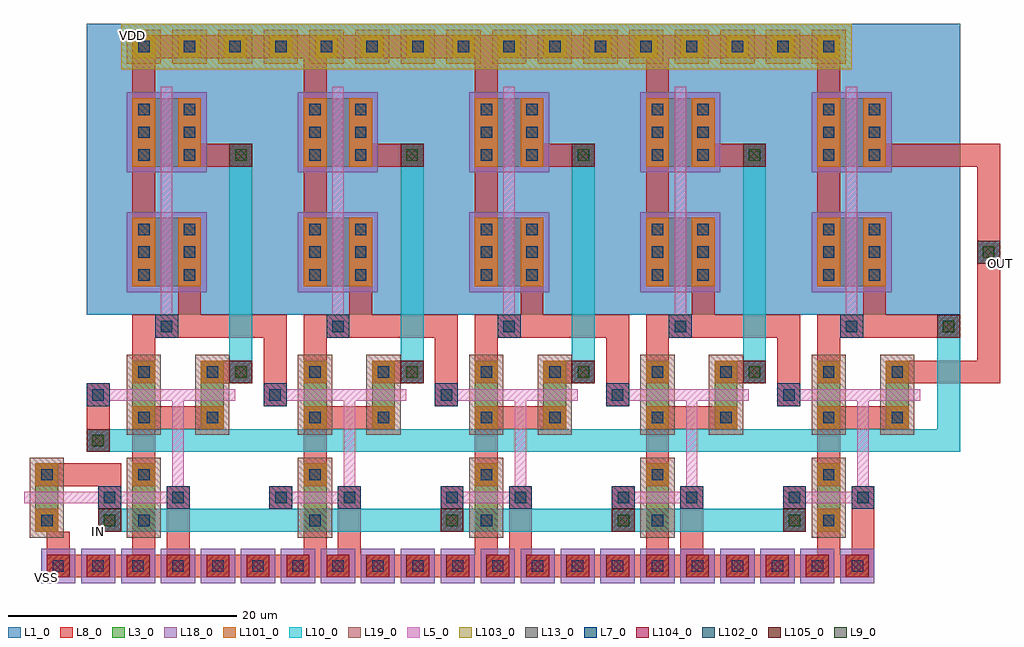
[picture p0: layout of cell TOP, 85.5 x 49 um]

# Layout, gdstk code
from math import pi, radians
import gdstk
lib = gdstk.Library(unit=1e-6, precision=1e-09)
def R(c, l, rs):  # rectangles x0, y0, x1, y1
    for r in rs: c.add(gdstk.rectangle(r[:2], r[2:], *l))
def A(c, l, x, y, w, h, nx, ny, dx, dy):  # array of equal rectangles
    R(c, l, [(x+i*dx, y+j*dy, x+i*dx+w, y+j*dy+h) for i in range(nx) for j in range(ny)])
L1_0 = (1, 0)
L3_0 = (3, 0)
L5_0 = (5, 0)
L7_0 = (7, 0)
L8_0 = (8, 0)
L9_0 = (9, 0)
L10_0 = (10, 0)
L13_0 = (13, 0)
L18_0 = (18, 0)
L19_0 = (19, 0)
L101_0 = (101, 0)
L102_0 = (102, 0)
L103_0 = (103, 0)
L104_0 = (104, 0)
L105_0 = (105, 0)

pcont = lib.new_cell('pcont')
R(pcont, L5_0, [(-1,-1,1,1)])
R(pcont, L7_0, [(-0.5,-0.5,0.5,0.5)])
R(pcont, L8_0, [(-1,-1,1,1)])
R(pcont, L13_0, [(-0.5,-0.5,0.5,0.5)])
R(pcont, L102_0, [(-1,-1,1,1)])
pcont.add(gdstk.Label('pcont', (0,0), layer=13, texttype=0))

dcont = lib.new_cell('dcont')
R(dcont, L3_0, [(-1,-1,1,1)])
R(dcont, L7_0, [(-0.5,-0.5,0.5,0.5)])
R(dcont, L8_0, [(-1,-1,1,1)])
R(dcont, L13_0, [(-0.5,-0.5,0.5,0.5)])
R(dcont, L101_0, [(-1,-1,1,1)])
dcont.add(gdstk.Label('dcont', (0,0), layer=13, texttype=0))

nsubcont = lib.new_cell('nsubcont')
R(nsubcont, L1_0, [(-2,-2,2,2)])
R(nsubcont, L19_0, [(-1.5,-1.5,1.5,1.5)])
R(nsubcont, L103_0, [(-2,-2,2,2)])
nsubcont.add(gdstk.Reference(dcont, (0,0)))
nsubcont.add(gdstk.Label('NScont', (0,0), layer=13, texttype=0))

via = lib.new_cell('Via')
R(via, L8_0, [(-1,-1,1,1)])
R(via, L9_0, [(-0.5,-0.5,0.5,0.5)])
R(via, L10_0, [(-1,-1,1,1)])
R(via, L13_0, [(-0.5,-0.5,0.5,0.5)])
R(via, L105_0, [(-1,-1,1,1)])
via.add(gdstk.Label('via', (0,0), layer=13, texttype=0))

psubcont = lib.new_cell('psubcont')
R(psubcont, L18_0, [(-1.5,-1.5,1.5,1.5)])
R(psubcont, L104_0, [(-1,-1,1,1)])
psubcont.add(gdstk.Reference(dcont, (0,0)))
psubcont.add(gdstk.Label('PScon', (0,0), layer=13, texttype=0))

top = lib.new_cell('TOP')
R(top, L1_0, [(-10,15,66.5,40.5)])
A(top, L3_0, -6, -2, 2, 2, 5, 1, 15, 0)
A(top, L3_0, -4, 17.5, 2, 6, 5, 2, 15, 10.5)
R(top, L3_0, [(-14.5,-2,-12.5,0), (-6,7,-4,9), (0,7,2,9), (9,7,11,9), (15,7,17,9), (24,7,26,9), (30,7,32,9), (39,7,41,9), (45,7,47,9), (54,7,56,9), (60,7,62,9)])
A(top, L5_0, -7, -1.5, 4, 1, 5, 1, 15, 0)
A(top, L5_0, -2.5, -0.5, 1, 8, 5, 1, 15, 0)
A(top, L5_0, -3, 7.5, 2, 1, 5, 1, 15, 0)
A(top, L5_0, 7.5, 7.5, 0.5, 1, 4, 1, 15, 0)
A(top, L5_0, -3.5, 15, 1, 1.5, 5, 1, 15, 0)
A(top, L5_0, -3.5, 16.5, 1, 8, 5, 2, 15, 10.5)
A(top, L5_0, -3.5, 24.5, 1, 2.5, 5, 1, 15, 0)
R(top, L5_0, [(-15.5,-1.5,-9,-0.5), (-8,7.5,-7,8.5), (-7,7.5,-3,8.5), (-1,7.5,3,8.5), (8,7.5,12,8.5), (14,7.5,18,8.5), (23,7.5,27,8.5), (29,7.5,33,8.5), (38,7.5,42,8.5), (44,7.5,48,8.5), (53,7.5,57,8.5), (59,7.5,63,8.5)])
A(top, L8_0, -6, -6, 2, 2, 5, 1, 15, 0)
A(top, L8_0, -3, -6, 2, 4, 5, 1, 15, 0)
A(top, L8_0, -6, 2, 2, 3, 5, 1, 15, 0)
A(top, L8_0, -4, 5, 4, 2, 5, 1, 15, 0)
A(top, L8_0, 2, 9, 0.5, 2, 5, 1, 15, 0)
A(top, L8_0, 5.5, 9, 2, 6, 4, 1, 15, 0)
A(top, L8_0, -6, 11, 2, 4, 5, 1, 15, 0)
A(top, L8_0, -4, 13, 10.5, 2, 5, 1, 15, 0)
A(top, L8_0, -2, 15, 2, 2.5, 5, 1, 15, 0)
A(top, L8_0, -6, 23.5, 2, 4.5, 5, 1, 15, 0)
A(top, L8_0, 0, 28, 2.5, 2, 5, 1, 15, 0)
A(top, L8_0, -6, 34, 2, 3.5, 5, 1, 15, 0)
R(top, L8_0, [(-11.5,-8,-6.5,-6), (-4.5,-8,-3,-6), (-1,-8,59,-6), (-13.5,-6,-11.5,-4), (-12.5,0,-7,2), (-10,5,-8,7), (62.5,9,68,11), (68,9,70,28), (62.5,28,70,30), (-4,37.5,56,39.5)])
A(top, L10_0, 2.5, 9, 2, 19, 4, 1, 15, 0)
R(top, L10_0, [(-7,-4,51,-2), (-10,3,66.5,5), (64.5,5,66.5,13)])
A(top, L18_0, -6.5, 17, 7, 7, 5, 2, 15, 10.5)
A(top, L19_0, -6.5, -4.5, 3, 7, 5, 1, 15, 0)
R(top, L19_0, [(-15,-4.5,-12,2.5), (-6.5,4.5,-3.5,11.5), (-0.5,4.5,2.5,11.5), (8.5,4.5,11.5,11.5), (14.5,4.5,17.5,11.5), (23.5,4.5,26.5,11.5), (29.5,4.5,32.5,11.5), (38.5,4.5,41.5,11.5), (44.5,4.5,47.5,11.5), (53.5,4.5,56.5,11.5), (59.5,4.5,62.5,11.5)])
top.add(gdstk.Reference(pcont, (28,-1), rotation=pi))
top.add(gdstk.Reference(pcont, (27,14), rotation=pi))
top.add(gdstk.Reference(nsubcont, (27,38.5), rotation=pi))
top.add(gdstk.Reference(dcont, (29,18.5), rotation=pi))
top.add(gdstk.Reference(dcont, (29,31)))
top.add(gdstk.Reference(dcont, (29,29)))
top.add(gdstk.Reference(dcont, (29,33)))
top.add(gdstk.Reference(dcont, (29,20.5), rotation=pi))
top.add(gdstk.Reference(via, (33.5,29), rotation=pi))
top.add(gdstk.Reference(dcont, (44,33)))
top.add(gdstk.Reference(dcont, (44,22.5), rotation=pi))
top.add(gdstk.Reference(dcont, (40,20.5), rotation=pi))
top.add(gdstk.Reference(dcont, (44,18.5), rotation=pi))
top.add(gdstk.Reference(dcont, (40,18.5), rotation=pi))
top.add(gdstk.Reference(dcont, (40,22.5), rotation=pi))
top.add(gdstk.Reference(dcont, (40,29)))
top.add(gdstk.Reference(dcont, (44,31)))
top.add(gdstk.Reference(dcont, (40,33)))
top.add(gdstk.Reference(dcont, (40,31)))
top.add(gdstk.Reference(dcont, (44,29)))
top.add(gdstk.Reference(dcont, (44,20.5), rotation=pi))
top.add(gdstk.Reference(via, (48.5,29), rotation=pi))
top.add(gdstk.Reference(dcont, (59,33)))
top.add(gdstk.Reference(dcont, (59,22.5), rotation=pi))
top.add(gdstk.Reference(dcont, (55,20.5), rotation=pi))
top.add(gdstk.Reference(dcont, (59,18.5), rotation=pi))
top.add(gdstk.Reference(dcont, (55,18.5), rotation=pi))
top.add(gdstk.Reference(dcont, (55,22.5), rotation=pi))
top.add(gdstk.Reference(dcont, (55,29)))
top.add(gdstk.Reference(dcont, (59,31)))
top.add(gdstk.Reference(dcont, (55,33)))
top.add(gdstk.Reference(dcont, (55,31)))
top.add(gdstk.Reference(dcont, (59,29)))
top.add(gdstk.Reference(dcont, (59,20.5), rotation=pi))
top.add(gdstk.Reference(dcont, (29,22.5), rotation=pi))
top.add(gdstk.Reference(nsubcont, (31,38.5), rotation=pi))
top.add(gdstk.Reference(nsubcont, (35,38.5), rotation=pi))
top.add(gdstk.Reference(nsubcont, (39,38.5), rotation=pi))
top.add(gdstk.Reference(nsubcont, (43,38.5), rotation=pi))
top.add(gdstk.Reference(nsubcont, (47,38.5), rotation=pi))
top.add(gdstk.Reference(nsubcont, (51,38.5), rotation=pi))
top.add(gdstk.Reference(via, (69,20.5), rotation=pi))
top.add(gdstk.Reference(nsubcont, (55,38.5), rotation=pi))
top.add(gdstk.Reference(dcont, (-5,20.5), rotation=pi))
top.add(gdstk.Reference(dcont, (-1,22.5), rotation=pi))
top.add(gdstk.Reference(dcont, (-1,33)))
top.add(gdstk.Reference(via, (18.5,29), rotation=pi))
top.add(gdstk.Reference(dcont, (14,20.5), rotation=pi))
top.add(gdstk.Reference(dcont, (14,29)))
top.add(gdstk.Reference(dcont, (10,31)))
top.add(gdstk.Reference(dcont, (10,33)))
top.add(gdstk.Reference(dcont, (14,31)))
top.add(gdstk.Reference(dcont, (10,29)))
top.add(gdstk.Reference(dcont, (10,22.5), rotation=pi))
top.add(gdstk.Reference(dcont, (10,18.5), rotation=pi))
top.add(gdstk.Reference(dcont, (14,18.5), rotation=pi))
top.add(gdstk.Reference(dcont, (10,20.5), rotation=pi))
top.add(gdstk.Reference(dcont, (14,22.5), rotation=pi))
top.add(gdstk.Reference(dcont, (14,33)))
top.add(gdstk.Reference(nsubcont, (-5,38.5), rotation=pi))
top.add(gdstk.Reference(via, (3.5,29), rotation=pi))
top.add(gdstk.Reference(dcont, (-1,20.5), rotation=pi))
top.add(gdstk.Reference(dcont, (25,20.5), rotation=pi))
top.add(gdstk.Reference(dcont, (-1,29)))
top.add(gdstk.Reference(dcont, (25,18.5), rotation=pi))
top.add(gdstk.Reference(dcont, (25,22.5), rotation=pi))
top.add(gdstk.Reference(nsubcont, (-1,38.5), rotation=pi))
top.add(gdstk.Reference(nsubcont, (3,38.5), rotation=pi))
top.add(gdstk.Reference(nsubcont, (7,38.5), rotation=pi))
top.add(gdstk.Reference(nsubcont, (11,38.5), rotation=pi))
top.add(gdstk.Reference(nsubcont, (15,38.5), rotation=pi))
top.add(gdstk.Reference(nsubcont, (19,38.5), rotation=pi))
top.add(gdstk.Reference(nsubcont, (23,38.5), rotation=pi))
top.add(gdstk.Reference(dcont, (25,29)))
top.add(gdstk.Reference(dcont, (-5,31)))
top.add(gdstk.Reference(dcont, (25,33)))
top.add(gdstk.Reference(dcont, (25,31)))
top.add(gdstk.Reference(dcont, (-5,33)))
top.add(gdstk.Reference(dcont, (-1,31)))
top.add(gdstk.Reference(dcont, (-5,29)))
top.add(gdstk.Reference(dcont, (-5,22.5), rotation=pi))
top.add(gdstk.Reference(dcont, (-5,18.5), rotation=pi))
top.add(gdstk.Reference(dcont, (-1,18.5), rotation=pi))
top.add(gdstk.Reference(dcont, (-5,1), rotation=pi))
top.add(gdstk.Reference(via, (3.5,10), rotation=pi))
top.add(gdstk.Reference(via, (18.5,10), rotation=pi))
top.add(gdstk.Reference(pcont, (-3,14), rotation=pi))
top.add(gdstk.Reference(dcont, (16,6), rotation=pi))
top.add(gdstk.Reference(dcont, (16,10), rotation=pi))
top.add(gdstk.Reference(dcont, (10,6), rotation=pi))
top.add(gdstk.Reference(dcont, (10,10), rotation=pi))
top.add(gdstk.Reference(pcont, (13,-1), rotation=pi))
top.add(gdstk.Reference(pcont, (-9,8), rotation=pi))
top.add(gdstk.Reference(via, (-9,4), rotation=pi))
top.add(gdstk.Reference(dcont, (10,-3), rotation=pi))
top.add(gdstk.Reference(dcont, (10,1), rotation=pi))
top.add(gdstk.Reference(psubcont, (-2,-7), rotation=pi))
top.add(gdstk.Reference(pcont, (6.5,8), rotation=pi))
top.add(gdstk.Reference(pcont, (21.5,8), rotation=pi))
top.add(gdstk.Reference(pcont, (12,14), rotation=pi))
top.add(gdstk.Reference(dcont, (25,1), rotation=pi))
top.add(gdstk.Reference(dcont, (25,-3), rotation=pi))
top.add(gdstk.Reference(dcont, (1,6), rotation=pi))
top.add(gdstk.Reference(dcont, (25,10), rotation=pi))
top.add(gdstk.Reference(dcont, (25,6), rotation=pi))
top.add(gdstk.Reference(dcont, (1,10), rotation=pi))
top.add(gdstk.Reference(dcont, (-5,6), rotation=pi))
top.add(gdstk.Reference(dcont, (-5,10), rotation=pi))
top.add(gdstk.Reference(psubcont, (1.5,-7), rotation=pi))
top.add(gdstk.Reference(psubcont, (5,-7), rotation=pi))
top.add(gdstk.Reference(psubcont, (8.5,-7), rotation=pi))
top.add(gdstk.Reference(psubcont, (12,-7), rotation=pi))
top.add(gdstk.Reference(psubcont, (15.5,-7), rotation=pi))
top.add(gdstk.Reference(psubcont, (19,-7), rotation=pi))
top.add(gdstk.Reference(psubcont, (22.5,-7), rotation=pi))
top.add(gdstk.Reference(psubcont, (26,-7), rotation=pi))
top.add(gdstk.Reference(psubcont, (-5.5,-7), rotation=pi))
top.add(gdstk.Reference(pcont, (22,-1), rotation=pi))
top.add(gdstk.Reference(pcont, (7,-1), rotation=pi))
top.add(gdstk.Reference(pcont, (-8,-1), rotation=pi))
top.add(gdstk.Reference(via, (22,-3), rotation=pi))
top.add(gdstk.Reference(via, (-8,-3), rotation=pi))
top.add(gdstk.Reference(dcont, (-13.5,1), rotation=pi))
top.add(gdstk.Reference(dcont, (-13.5,-3), rotation=pi))
top.add(gdstk.Reference(psubcont, (-9,-7), rotation=pi))
top.add(gdstk.Reference(psubcont, (-12.5,-7), rotation=pi))
top.add(gdstk.Reference(pcont, (-2,-1), rotation=pi))
top.add(gdstk.Reference(dcont, (-5,-3), rotation=pi))
top.add(gdstk.Reference(pcont, (43,-1), rotation=pi))
top.add(gdstk.Reference(dcont, (40,10), rotation=pi))
top.add(gdstk.Reference(dcont, (40,6), rotation=pi))
top.add(gdstk.Reference(dcont, (46,10), rotation=pi))
top.add(gdstk.Reference(pcont, (42,14), rotation=pi))
top.add(gdstk.Reference(dcont, (46,6), rotation=pi))
top.add(gdstk.Reference(pcont, (57,14), rotation=pi))
top.add(gdstk.Reference(dcont, (31,10), rotation=pi))
top.add(gdstk.Reference(via, (65.5,14), rotation=pi))
top.add(gdstk.Reference(via, (48.5,10), rotation=pi))
top.add(gdstk.Reference(pcont, (51.5,8), rotation=pi))
top.add(gdstk.Reference(psubcont, (29.5,-7), rotation=pi))
top.add(gdstk.Reference(psubcont, (33,-7), rotation=pi))
top.add(gdstk.Reference(psubcont, (36.5,-7), rotation=pi))
top.add(gdstk.Reference(psubcont, (40,-7), rotation=pi))
top.add(gdstk.Reference(psubcont, (43.5,-7), rotation=pi))
top.add(gdstk.Reference(psubcont, (47,-7), rotation=pi))
top.add(gdstk.Reference(psubcont, (50.5,-7), rotation=pi))
top.add(gdstk.Reference(psubcont, (54,-7), rotation=pi))
top.add(gdstk.Reference(psubcont, (57.5,-7), rotation=pi))
top.add(gdstk.Reference(via, (33.5,10), rotation=pi))
top.add(gdstk.Reference(pcont, (52,-1), rotation=pi))
top.add(gdstk.Reference(pcont, (37,-1), rotation=pi))
top.add(gdstk.Reference(dcont, (55,1), rotation=pi))
top.add(gdstk.Reference(dcont, (55,-3), rotation=pi))
top.add(gdstk.Reference(pcont, (58,-1), rotation=pi))
top.add(gdstk.Reference(via, (52,-3), rotation=pi))
top.add(gdstk.Reference(via, (37,-3), rotation=pi))
top.add(gdstk.Reference(dcont, (55,10), rotation=pi))
top.add(gdstk.Reference(dcont, (55,6), rotation=pi))
top.add(gdstk.Reference(dcont, (61,10), rotation=pi))
top.add(gdstk.Reference(dcont, (61,6), rotation=pi))
top.add(gdstk.Reference(pcont, (36.5,8), rotation=pi))
top.add(gdstk.Reference(dcont, (31,6), rotation=pi))
top.add(gdstk.Reference(dcont, (40,1), rotation=pi))
top.add(gdstk.Reference(dcont, (40,-3), rotation=pi))
top.add(gdstk.Label('VDD', (-6,39.5), layer=8, texttype=0))
top.add(gdstk.Label('VSS', (-13.5,-8), layer=8, texttype=0))
top.add(gdstk.Label('IN', (-9,-4), layer=10, texttype=0))
top.add(gdstk.Label('OUT', (70,19.5), layer=10, texttype=0))

lib.write_gds('TOP.gds')
